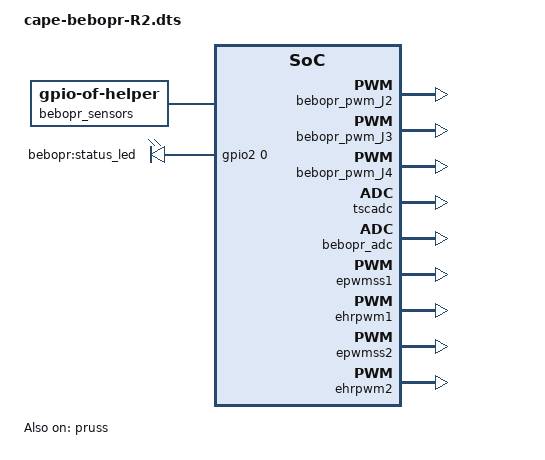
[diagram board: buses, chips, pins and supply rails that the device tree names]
/*
 * Copyright (C) 2013 Bas Laarhoven
 *
 * This program is free software; you can redistribute it and/or modify
 * it under the terms of the GNU General Public License version 2 as
 * published by the Free Software Foundation.
 *
 * DT overlay for BeBoPr and BeagleBone (white)
 *
 * history:
 * 2013-08-05 SJL - Created from old 2191 overlay.
 *                  Limit compatibility to BeagleBone (White).
 *                  Use original (2-signal) BeBoPr enable scheme.
 *                  Removed non-functional io-enable sysfs interface.
 * 2013-08-11 SJL - Merged changes from cape-bebopr-ena-R2.dts
 */
/dts-v1/;
/plugin/;

/ {
	compatible = "aes,bebopr", "ti,beaglebone";

	/* identification */
	part-number = "cape-bebopr";
	version = "R2";

	exclusive-use =
	/* state the resources this cape uses */

	/* ------ IO POWER ------ */

		"P8.3",     /* gpio1.6     gpio38    old Enable  */
		"P8.5",     /* gpio1.2     gpio34    old Enablen */

    /* ------ PWM ------ */

		"P8.46",    /* pru1.r30.1     EHRPWM2B   J2_PWM0  */
		"P8.45",    /* pru1.r30.0     EHRPWM2A   J3_PWM1  */
		"P8.36",    /* gpio2.16       EHRPWM1A   J4_PWM2  */
		"ehrpwm1A",
		"ehrpwm2A",
		"ehrpwm2B",

	/* ------ STEPPERS ------ */

		"P8.41",    /* gpio2.10  #X_ENA */
		"P8.44",    /* gpio2.9   #X_DIR */
		"P8.43",    /* gpio2.8   #X_STP */
		"P8.40",    /* gpio2.13  #Y_ENA */
		"P8.39",    /* gpio2.12  #Y_DIR */
		"P8.42",    /* gpio2.11  #Y_STP */
		"P8.28",    /* gpio2.24  #Z_ENA */
		"P8.29",    /* gpio2.23  #Z_DIR */
		"P8.27",    /* gpio2.22  #Z_STP */
		"P8.20",    /* gpio1.31  #E_ENA */
		"P8.21",    /* gpio1.30  #E_DIR */
		"P8.30",    /* gpio2.25  #E_STP */
		"pru1",
		"pruss",

	/* ------ SENSORS ------ */

		"P8.31",    /* gpio0.10   #X_MIN */
		"P8.32",    /* gpio0.11   #X_MAX */
		"P8.35",    /* gpio0.8    #Y_MIN */
		"P8.33",    /* gpio0.9    #Y_MAX */
		"P8.38",    /* gpio2.15   #Z_MIN */
		"P8.37",    /* gpio2.14   #Z_MAX */

	/* ------ ADC ------ */

		"P9.40",    /* AIN1 */
		"P9.38",    /* AIN3 */
		"P9.36",    /* AIN5 */
		"tscadc",

	/* ------ LED ------ */

		"P8.25";    /* gpio1.0        LED     */



	/* ----------- IO ENABLE ------------ */

	fragment@0 {
		target = <&am33xx_pinmux>;
		__overlay__ {

			bebopr_io_enable_pins: pinmux_bebopr_io_enable_pins {
				pinctrl-single,pins = <
					0x018 0x07  /*  P8-3 GPIO1_6    gpmc_ad6.gpio1[6]      */
					0x008 0x07  /*  P8-5 GPIO1_2    gpmc_ad2.gpio1[2]      */
				>;
			};
		};
	};

	fragment@1 {
		target = <&ocp>;
		__overlay__ {

			bebopr_io_enables {
				compatible = "gpio-of-helper";
				status = "okay";
				pinctrl-names = "default";
				pinctrl-0 = <&bebopr_io_enable_pins>;

				io_enable {
					gpio-name = "bebopr:io_enable";
					gpio = <&gpio2 6 0>;
					output;
					init-high;
				};
				io_enable_n {
					gpio-name = "bebopr:io_enable_n";
					gpio = <&gpio2 2 0>;
					output;
					init-high;
				};
			};
		};
	};

	/* ----------- PWM ------------ */

	fragment@11 {
		target = <&epwmss1>;
		__overlay__ {
			status = "okay";
		};
	};

	fragment@12 {
		target = <&ehrpwm1>;
		__overlay__ {
			status = "okay";
		};
	};

	fragment@13 {
		target = <&epwmss2>;
		__overlay__ {
			status = "okay";
		};
	};

	fragment@14 {
		target = <&ehrpwm2>;
		__overlay__ {
			status = "okay";
		};
	};

	fragment@15 {
		target = <&am33xx_pinmux>;
		__overlay__ {

		// J2_PWM0
			P8_46_ehrpwm_pin: pinmux_P8_46_ehrpwm_pin {
				pinctrl-single,pins = <0x0a4  0x3>; /* P8_46 (ZCZ ball R2) | MODE 3 */
			};

			P8_46_gpio_pin: pinmux_P8_46_gpio_pin {
				pinctrl-single,pins = <0x0a4  0x7>; /* P8_46 (ZCZ ball R2) | MODE 7 */
			};

			P8_46_pruss_pin: pinmux_P8_46_pruss_pin {
				pinctrl-single,pins = <0x0a4  0x5>; /* P8_46 (ZCZ ball R2) | MODE 5 */
			};

		// J3_PWM1
			P8_45_ehrpwm_pin: pinmux_P8_45_ehrpwm_pin {
				pinctrl-single,pins = <0x0a0  0x3>; /* P8_45 (ZCZ ball R1) | MODE 3 */
			};

			P8_45_gpio_pin: pinmux_P8_45_gpio_pin {
				pinctrl-single,pins = <0x0a0  0x7>; /* P8_45 (ZCZ ball R1) | MODE 7 */
			};

			P8_45_pruss_pin: pinmux_P8_45_pruss_pin {
				pinctrl-single,pins = <0x0a0  0x5>; /* P8_45 (ZCZ ball R1) | MODE 5 */
			};

		// J4_PWM2
			P8_36_ehrpwm_pin: pinmux_P8_36_ehrpwm_pin {
				pinctrl-single,pins = <0x0c8  0x2>; /* P8_36 (ZCZ ball U3) | MODE 2 */
			};

			P8_36_gpio_pin: pinmux_P8_36_gpio_pin {
				pinctrl-single,pins = <0x0c8  0x7>; /* P8_36 (ZCZ ball U3) | MODE 7 */
			};
		};
	};

	fragment@16 {
		target = <&ocp>;
		__overlay__ {

			bebopr_pwm_J2_pinmux {
				compatible = "bone-pinmux-helper";
				status = "okay";

				pinctrl-names = "default", "gpio", "pruss";
				pinctrl-0 = <&P8_46_ehrpwm_pin>;
				pinctrl-1 = <&P8_46_gpio_pin>;
				pinctrl-2 = <&P8_46_pruss_pin>;
			};

			bebopr_pwm_J3_pinmux {
				compatible = "bone-pinmux-helper";
				status = "okay";

				pinctrl-names = "default", "gpio", "pruss";
				pinctrl-0 = <&P8_45_ehrpwm_pin>;
				pinctrl-1 = <&P8_45_gpio_pin>;
				pinctrl-2 = <&P8_45_pruss_pin>;
			};

			bebopr_pwm_J4_pinmux {
				compatible = "bone-pinmux-helper";
				status = "okay";

				pinctrl-names = "default", "gpio";
				pinctrl-0 = <&P8_36_ehrpwm_pin>;
				pinctrl-1 = <&P8_36_gpio_pin>;
			};

			bebopr_pwm_J2 {
				compatible	= "pwm_test";
				pwms		= <&ehrpwm2 1 10000000 0>;
				pwm-names	= "PWM0_J2_FAN";
				enabled		= <0>;
				duty		= <0>;
				status		= "okay";
			};

			bebopr_pwm_J3 {
				compatible	= "pwm_test";
				pwms		= <&ehrpwm2 0 10000000 0>;
				pwm-names	= "PWM1_J3_EXTR";
				enabled		= <0>;
				duty		= <0>;
				status		= "okay";
			};

			bebopr_pwm_J4 {
				compatible	= "pwm_test";
				pwms		= <&ehrpwm1 0 100000000 0>;
				pwm-names	= "PWM2_J4_BED";
				enabled		= <0>;
				duty		= <0>;
				status		= "okay";
			};
		};
	};

	/* ----------- STEPPERS ------------ */

	fragment@21 {
		target = <&am33xx_pinmux>;
		__overlay__ {

			bebopr_stepper_pins: pinmux_bebopr_stepper_pins {
				status = "okay";
				pinctrl-single,pins = <
					/* stepper outputs */
					0xb0 5  /* #X_ENA, pr1_pru1_pru_r30_4,  P8_41, gpio2.10, mode5 out */
					0xac 5  /* #X_DIR, pr1_pru1_pru_r30_3,  P8_44, gpio2.9,  mode5 out */
					0xa8 5  /* #X_STP, pr1_pru1_pru_r30_2,  P8_43, gpio2.8,  mode5 out */
					0xbc 5  /* #Y_ENA, pr1_pru1_pru_r30_7,  P8_40, gpio2.13, mode5 out */
					0xb8 5  /* #Y_DIR, pr1_pru1_pru_r30_6,  P8_39, gpio2.12, mode5 out */
					0xb4 5  /* #Y_STP, pr1_pru1_pru_r30_5,  P8_42, gpio2.11, mode5 out */
					0xe8 5  /* #Z_ENA, pr1_pru1_pru_r30_10, P8_28, gpio2.24, mode5 out */
					0xe4 5  /* #Z_DIR, pr1_pru1_pru_r30_9,  P8_29, gpio2.23, mode5 out */
					0xe0 5  /* #Z_STP, pr1_pru1_pru_r30_8,  P8_27, gpio2.22, mode5 out */
					0x84 5  /* #E_ENA, pr1_pru1_pru_r30_13, P8_20, gpio1.31, mode5 out */
					0x80 5  /* #E_DIR, pr1_pru1_pru_r30_12, P8_21, gpio1.30, mode5 out */
					0xec 5  /* #E_STP, pr1_pru1_pru_r30_11, P8_30, gpio2.25, mode5 out */
				>;
			};
		};
	};

	fragment@22 {
		target = <&ocp>;
		__overlay__ {

			bebopr_steppers {
				compatible = "gpio-of-helper";
				status = "okay";
				pinctrl-names = "default";
				pinctrl-0 = <&bebopr_stepper_pins>;

				x_stp {
					gpio-name = "bebopr:x_stp";
					gpio = <&gpio3 8 0>;
					output;
					init-low;
				};
				x_dir {
					gpio-name = "bebopr:x_dir";
					gpio = <&gpio3 9 0>;
					output;
					init-low;
				};
				x_ena {
					gpio-name = "bebopr:x_ena";
					gpio = <&gpio3 10 0>;
					output;
					init-high;
				};

				y_stp {
					gpio-name = "bebopr:y_stp";
					gpio = <&gpio3 11 0>;
					output;
					init-low;
				};
				y_dir {
					gpio-name = "bebopr:y_dir";
					gpio = <&gpio3 12 0>;
					output;
					init-low;
				};
				y_ena {
					gpio-name = "bebopr:y_ena";
					gpio = <&gpio3 13 0>;
					output;
					init-high;
				};

				z_stp {
					gpio-name = "bebopr:z_stp";
					gpio = <&gpio3 22 0>;
					output;
					init-low;
				};
				z_dir {
					gpio-name = "bebopr:z_dir";
					gpio = <&gpio3 23 0>;
					output;
					init-low;
				};
				z_ena {
					gpio-name = "bebopr:z_ena";
					gpio = <&gpio3 24 0>;
					output;
					init-high;
				};

				e_stp {
					gpio-name = "bebopr:e_stp";
					gpio = <&gpio3 25 0>;
					output;
					init-low;
				};
				e_dir {
					gpio-name = "bebopr:e_dir";
					gpio = <&gpio2 30 0>;
					output;
					init-low;
				};
				e_ena {
					gpio-name = "bebopr:e_ena";
					gpio = <&gpio2 31 0>;
					output;
					init-high;
				};
			};
		};
	};

	fragment@23 {
		target = <&pruss>;
		__overlay__ {
			status = "okay";
		};
	};

	/* ----------- SENSORS ------------ */

	fragment@31 {
		target = <&am33xx_pinmux>;
		__overlay__ {

			bebopr_sensor_pins: pinmux_bebopr_sensor_pins {
				status = "okay";
				pinctrl-single,pins = <
					/* sensor inputs with pull-downs */
					0xd8 0x2f   /* #X_MIN, P8_31, gpio0.10, mode7 in */
					0xdc 0x2f   /* #X_MAX, P8_32, gpio0.11, mode7 in */
					0xd0 0x2f   /* #Y_MIN, P8_35, gpio0.8,  mode7 in */
					0xd4 0x2f   /* #Y_MAX, P8_33, gpio0.9 , mode7 in */
					0xc4 0x2f   /* #Z_MIN, P8_38, gpio2.15, mode7 in */
					0xc0 0x2f   /* #Z_MAX, P8_37, gpio2.14, mode7 in */
				>;
			};
		};
	};

	fragment@33 {
		target = <&ocp>;
		__overlay__ {

			bebopr_sensors {
				compatible = "gpio-of-helper";
				status = "okay";
				pinctrl-names = "default";
				pinctrl-0 = <&bebopr_sensor_pins>;

				x_min {
					gpio-name = "bebopr:x_min";
					gpio = <&gpio1 10 0>;
					input;
				};
				x_max {
					gpio-name = "bebopr:x_max";
					gpio = <&gpio1 11 0>;
					input;
				};
				y_min {
					gpio-name = "bebopr:y_min";
					gpio = <&gpio1 8 0>;
					input;
				};
				y_max {
					gpio-name = "bebopr:y_max";
					gpio = <&gpio1 9 0>;
					input;
				};
				z_min {
					gpio-name = "bebopr:z_min";
					gpio = <&gpio3 15 0>;
					input;
				};
				z_max {
					gpio-name = "bebopr:z_max";
					gpio = <&gpio3 14 0>;
					input;
				};
			};
		};
	};

	/* ----------- ADC ------------ */

        /* no pinmux needed */

	fragment@41 {
		target = <&ocp>;
		__overlay__ {

			#address-cells = <1>;
			#size-cells = <1>;

			tscadc {
				compatible = "ti,ti-tscadc";
				status = "okay";

				reg = <0x44e0d000 0x1000>;
				interrupt-parent = <&intc>;
				interrupts = <16>;
				ti,hwmods = "adc_tsc";
				adc {
					ti,adc-channels = <0 1 2 3 4 5 6 7>;
				};
			};

			bebopr_adc {
				compatible = "bone-iio-helper";
				status = "okay";
				/* scale to raw bit value */
				vsense-name  = "AIN0", "AIN1", "AIN2", "AIN3", "AIN4", "AIN5", "AIN7";
				vsense-scale = < 228     228     228     228     228     228     228>;
			};

		};
	};


	/* ----------- LED ------------ */

	fragment@51 {
		target = <&am33xx_pinmux>;
		__overlay__ {

			bebopr_led_pins: pinmux_bebopr_led_pins {
				pinctrl-single,pins = <
					0x000 0x07    /* P8-25 GPIO1_0    gpmc_ad0 .gpio1[0]     */
				>;
			};
		};
	};


	fragment@52 {
		target = <&ocp>;
		__overlay__ {

			bebopr_leds {
				compatible = "gpio-leds";
				pinctrl-names = "default";
				pinctrl-0 = <&bebopr_led_pins>;

				status_led {
					label = "bebopr:status_led";
					gpios = <&gpio2 0 0>;
					linux,default-trigger = "heartbeat";
					default-state = "off";
				};
			};
		};
	};

	/* ----------- ADS1015 ------------ */

/*
	fragment@61 {
		target = <&i2c2>;
		__overlay__ {
			// needed to avoid gripping by DTC
			#address-cells = <1>;
			#size-cells = <0>;
			status = "okay";	// probably already set

			ads1015: ads1015@48 {

				compatible = "ti,ads1015";
				status = "okay";

				#address-cells = <1>;
				#size-cells = <0>;
				reg = <0x48>;

				hi_res = <1>;

				channel@1 {
					  reg = <4>;
					  ti,gain = <2>;
					  ti,datarate = <2>;
				};
				channel@2 {
					  reg = <5>;
					  ti,gain = <2>;
					  ti,datarate = <2>;
				};
				channel@3 {
					  reg = <6>;
					  ti,gain = <2>;
					  ti,datarate = <2>;
				};
				channel@4 {
					  reg = <0>;
					  ti,gain = <3>;
					  ti,datarate = <2>;
				};
			};
		};

	};
*/

};
